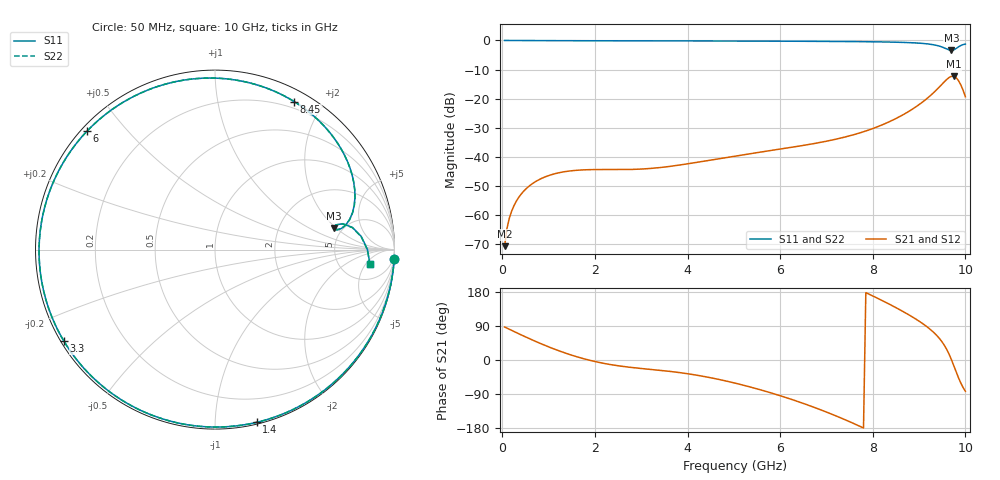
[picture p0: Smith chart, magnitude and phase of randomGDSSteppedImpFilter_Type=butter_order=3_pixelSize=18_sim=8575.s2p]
! freq	dB(S11)	phase(S11)	dB(S12)	phase(S12)
!  dB(S21)	phase(S21)	dB(S22)	phase(S22)
!S-par simulation data
#  GHz  S  DB  R 50
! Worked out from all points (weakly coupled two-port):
!   200 points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, 50 MHz to 10 GHz, reference 50 ohm
!   highest |S21| = -12.31 dB at 9.75 GHz (marker M1); lowest = -70.7 dB at 50 MHz (marker M2)
!   lowest |S11| = -3.4 dB at 9.7 GHz (marker M3), VSWR 5.15, Z = 213 + j94.8 ohm
!   |S11| at or under -10 dB: nowhere
!   |S22| runs from -3.4 to 0.0 dB; largest |S21 - S12| = 0
!   S11 on the Smith chart (normalised r, x): 50 MHz: 0, -39; 1.4 GHz: 0.01, -1.27; 3.3 GHz: 0.01, -0.28; 6 GHz: 0.02, +0.39; 8.45 GHz: 0.13, +1.66; 10 GHz: 10, -6
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0.05  -0.00 -3.0  -70.71 87.1  -70.71 87.1  -0.00 -3.0
0.15  -0.01 -8.9  -61.19 81.0  -61.19 81.0  -0.01 -8.9
0.4  -0.03 -23.4  -52.96 66.7  -52.96 66.7  -0.03 -23.4
0.8  -0.06 -45.8  -47.78 44.8  -47.78 44.8  -0.06 -45.8
1.4  -0.09 -76.4  -44.98 16.7  -44.98 16.7  -0.09 -76.4
1.75  -0.10 -92.3  -44.48 3.6  -44.48 3.6  -0.10 -92.3
2.55  -0.12 -123.9  -44.38 -16.1  -44.38 -16.1  -0.12 -123.9
3.3  -0.14 -148.8  -43.85 -25.9  -43.85 -25.9  -0.14 -148.8
3.4  -0.14 -151.9  -43.70 -27.2  -43.70 -27.2  -0.14 -151.9
4.2  -0.17 -175.0  -41.89 -40.1  -41.89 -40.1  -0.17 -175.0
5.05  -0.20 162.2  -39.67 -61.7  -39.67 -61.7  -0.20 162.2
6  -0.25 137.2  -37.34 -94.2  -37.34 -94.2  -0.25 137.2
6.7  -0.30 118.1  -35.53 -123.4  -35.53 -123.4  -0.30 118.1
7.6  -0.39 91.4  -32.34 -168.2  -32.34 -168.2  -0.39 91.3
8.35  -0.55 65.7  -27.99 147.8  -27.99 147.8  -0.55 65.6
8.45  -0.58 61.9  -27.24 141.4  -27.24 141.4  -0.58 61.8
9.2  -1.22 28.4  -19.57 84.9  -19.57 84.9  -1.22 28.3
9.5  -2.27 12.7  -14.96 47.2  -14.96 47.2  -2.28 12.6
9.7  -3.42 10.3  -12.32 0.6  -12.32 0.6  -3.43 10.2
9.75  -3.24 11.6  -12.31 -15.1  -12.31 -15.1  -3.26 11.5
9.85  -2.21 9.2  -13.79 -46.6  -13.79 -46.6  -2.22 9.1
10  -1.24 -5.2  -19.36 -82.5  -19.36 -82.5  -1.25 -5.2
